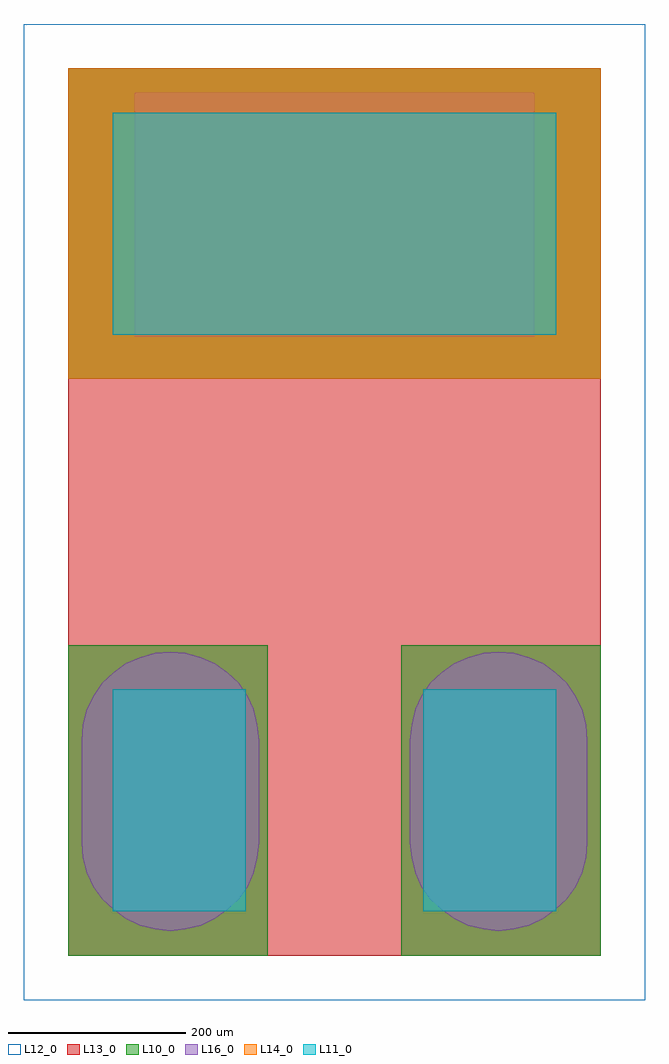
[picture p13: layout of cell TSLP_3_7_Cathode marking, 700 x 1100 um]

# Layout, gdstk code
import gdstk
lib = gdstk.Library(unit=1e-6, precision=1e-09)
def R(c, l, rs):  # rectangles x0, y0, x1, y1
    for r in rs: c.add(gdstk.rectangle(r[:2], r[2:], *l))
def P(c, l, *ps):  # polygons
    for p in ps: c.add(gdstk.Polygon(p, *l))
L10_0 = (10, 0)
L11_0 = (11, 0)
L12_0 = (12, 0)
L13_0 = (13, 0)
L14_0 = (14, 0)
L16_0 = (16, 0)

tslp_3_7_cathode_marking = lib.new_cell('TSLP_3_7_Cathode marking')
R(tslp_3_7_cathode_marking, L10_0, [(-300,-500,-75,-150), (75,-500,300,-150), (-300,150,300,500)])
R(tslp_3_7_cathode_marking, L11_0, [(-250,-450,-100,-200), (100,-450,250,-200), (-250,200,250,450)])
R(tslp_3_7_cathode_marking, L12_0, [(-350,-550,350,550)])
R(tslp_3_7_cathode_marking, L13_0, [(-300,-500,300,500)])
R(tslp_3_7_cathode_marking, L14_0, [(-300,150,300,500)])
R(tslp_3_7_cathode_marking, L16_0, [(-225,197.5,225,472.5)])
P(tslp_3_7_cathode_marking, L16_0, [(-235,-458.5),(-219,-466.5),(-202,-470.5),(-185,-472.5),(-168,-470.5),(-151,-466.5),(-135,-458.5),(-121,-448.5),(-108,-436.5),(-98,-422.5),(-91,-406.5),(-87,-389.5),(-85,-372.5),(-85,-257.5),(-87,-239.5),(-91,-222.5),(-98,-207.5),(-108,-192.5),(-121,-180.5),(-135,-170.5),(-151,-163.5),(-168,-158.5),(-185,-157.5),(-202,-158.5),(-219,-163.5),(-235,-170.5),(-249,-180.5),(-262,-192.5),(-272,-207.5),(-279,-222.5),(-284,-239.5),(-285,-257.5),(-285,-372.5),(-284,-389.5),(-279,-406.5),(-272,-422.5),(-262,-436.5),(-249,-448.5)],
  [(135,-458.5),(151,-466.5),(168,-470.5),(185,-472.5),(202,-470.5),(219,-466.5),(235,-458.5),(249,-448.5),(262,-436.5),(272,-422.5),(279,-406.5),(284,-389.5),(285,-372.5),(285,-257.5),(284,-239.5),(279,-222.5),(272,-207.5),(262,-192.5),(249,-180.5),(235,-170.5),(219,-163.5),(202,-158.5),(185,-157.5),(168,-158.5),(151,-163.5),(135,-170.5),(121,-180.5),(108,-192.5),(98,-207.5),(91,-222.5),(87,-239.5),(85,-257.5),(85,-372.5),(87,-389.5),(91,-406.5),(98,-422.5),(108,-436.5),(121,-448.5)])

lib.write_gds('TSLP_3_7_Cathode_marking.gds')
